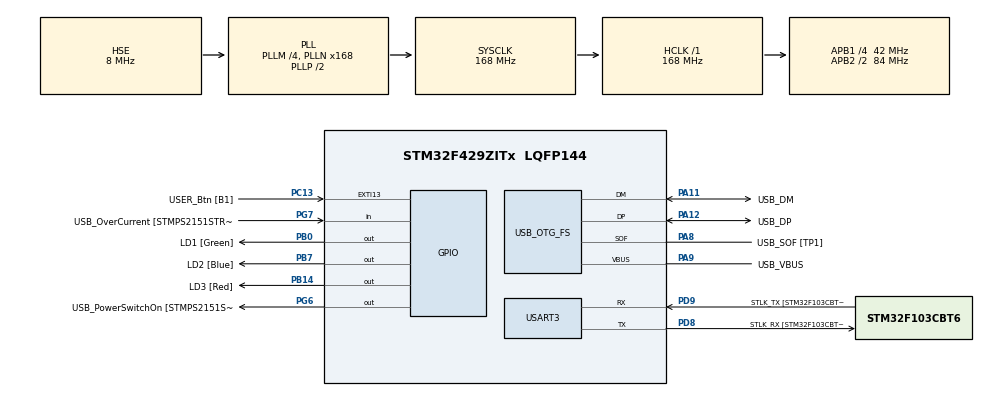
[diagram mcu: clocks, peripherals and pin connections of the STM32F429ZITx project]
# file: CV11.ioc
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Mcu.Family=STM32F4
Mcu.Name=STM32F429ZITx
Mcu.Package=LQFP144
NVIC.OTG_FS_IRQn=true\:0\:0\:false\:false\:true\:false\:true\:true
NVIC.PriorityGroup=NVIC_PRIORITYGROUP_4
PA1.GPIO_Label=RMII_REF_CLK [LAN8742A-CZ-TR_REFCLK0]
PA1.Signal=ETH_REF_CLK
PA10.GPIO_Label=USB_ID
PA10.Signal=USB_OTG_FS_ID
PA11.GPIO_Label=USB_DM
PA11.Mode=Device_Only
PA11.Signal=USB_OTG_FS_DM
PA12.GPIO_Label=USB_DP
PA12.Mode=Device_Only
PA12.Signal=USB_OTG_FS_DP
PA13.GPIO_Label=TMS
PA13.Mode=Serial_Wire
PA13.Signal=SYS_JTMS-SWDIO
PA14.GPIO_Label=TCK
PA14.Mode=Serial_Wire
PA14.Signal=SYS_JTCK-SWCLK
PA2.GPIO_Label=RMII_MDIO [LAN8742A-CZ-TR_MDIO]
PA2.Signal=ETH_MDIO
PA7.GPIO_Label=RMII_CRS_DV [LAN8742A-CZ-TR_CRS_DV]
PA7.Signal=ETH_CRS_DV
PA8.GPIO_Label=USB_SOF [TP1]
PA8.Mode=Activate_SOF_FS
PA8.Signal=USB_OTG_FS_SOF
PA9.GPIO_Label=USB_VBUS
PA9.Mode=Activate_VBUS
PA9.Signal=USB_OTG_FS_VBUS
PB0.GPIO_Label=LD1 [Green]
PB0.Signal=GPIO_Output
PB13.GPIO_Label=RMII_TXD1 [LAN8742A-CZ-TR_TXD1]
PB13.Signal=ETH_TXD1
PB14.GPIO_Label=LD3 [Red]
PB14.Signal=GPIO_Output
PB7.GPIO_Label=LD2 [Blue]
PB7.Signal=GPIO_Output
PC1.GPIO_Label=RMII_MDC [LAN8742A-CZ-TR_MDC]
PC1.Signal=ETH_MDC
PC13.GPIO_Label=USER_Btn [B1]
PC13.Signal=GPXTI13
PC14/OSC32_IN.Mode=LSE-External-Oscillator
PC14/OSC32_IN.Signal=RCC_OSC32_IN
PC15/OSC32_OUT.Mode=LSE-External-Oscillator
PC15/OSC32_OUT.Signal=RCC_OSC32_OUT
PC4.GPIO_Label=RMII_RXD0 [LAN8742A-CZ-TR_RXD0]
PC4.Signal=ETH_RXD0
PC5.GPIO_Label=RMII_RXD1 [LAN8742A-CZ-TR_RXD1]
PC5.Signal=ETH_RXD1
PD8.GPIO_Label=STLK_RX [STM32F103CBT6_PA3]
PD8.Mode=Asynchronous
PD8.Signal=USART3_TX
PD9.GPIO_Label=STLK_TX [STM32F103CBT6_PA2]
PD9.Mode=Asynchronous
PD9.Signal=USART3_RX
PG11.GPIO_Label=RMII_TX_EN [LAN8742A-CZ-TR_TXEN]
PG11.Signal=ETH_TX_EN
PG13.GPIO_Label=RMII_TXD0 [LAN8742A-CZ-TR_TXD0]
PG13.Signal=ETH_TXD0
PG6.GPIO_Label=USB_PowerSwitchOn [STMPS2151STR_EN]
PG6.Signal=GPIO_Output
PG7.GPIO_Label=USB_OverCurrent [STMPS2151STR_FAULT]
PG7.Signal=GPIO_Input
PH0/OSC_IN.GPIO_Label=MCO [STM32F103CBT6_PA8]
PH0/OSC_IN.Mode=HSE-External-Clock-Source
PH0/OSC_IN.Signal=RCC_OSC_IN
PH1/OSC_OUT.Mode=HSE-External-Clock-Source
PH1/OSC_OUT.Signal=RCC_OSC_OUT
ProjectManager.HeapSize=0x200
ProjectManager.StackSize=0x400
ProjectManager.TargetToolchain=STM32CubeIDE
RCC.48MHZClocksFreq_Value=48000000
RCC.AHBFreq_Value=168000000
RCC.APB1CLKDivider=RCC_HCLK_DIV4
RCC.APB1Freq_Value=42000000
RCC.APB1TimFreq_Value=84000000
RCC.APB2CLKDivider=RCC_HCLK_DIV2
RCC.APB2Freq_Value=84000000
RCC.APB2TimCLKDivider=2
RCC.APB2TimFreq_Value=168000000
RCC.CortexFreq_Value=168000000
RCC.HCLKFreq_Value=168000000
RCC.HSE_VALUE=8000000
RCC.HSI_VALUE=16000000
RCC.PLLM=4
RCC.PLLMUL=RCC_PLL_MUL9
RCC.PLLN=168
RCC.PLLQ=7
RCC.PRESCALERUSB=RCC_USBCLKSOURCE_PLL_DIV1_5
RCC.SYSCLKFreq_VALUE=168000000
RCC.SYSCLKSource=RCC_SYSCLKSOURCE_PLLCLK
RCC.SYSCLKSourceVirtual=RCC_SYSCLKSOURCE_PLLCLK
RCC.USBFreq_Value=48000000
RCC.VCOOutputFreq_Value=336000000
USART3.VirtualMode=VM_ASYNC
USB_DEVICE.CLASS_NAME_FS=HID
USB_DEVICE.VirtualMode-HID_FS=Hid
USB_DEVICE.VirtualModeFS=Hid_FS
USB_OTG_FS.VirtualMode=Device_Only
VP_USB_DEVICE_VS_USB_DEVICE_HID_FS.Mode=HID_FS
board=NUCLEO-F429ZI

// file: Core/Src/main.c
/* USER CODE BEGIN Header */
/**
 ******************************************************************************
 * @file           : main.c
 * @brief          : Main program body
 ******************************************************************************
 * @attention
 *
 * Copyright (c) 2023 STMicroelectronics.
 * All rights reserved.
 *
 * This software is licensed under terms that can be found in the LICENSE file
 * in the root directory of this software component.
 * If no LICENSE file comes with this software, it is provided AS-IS.
 *
 ******************************************************************************
 */
/* USER CODE END Header */
#include "main.h"
#include "usb_device.h"

/* USER CODE BEGIN Includes */
#include "usbd_hid.h"
#include <stdbool.h>
#include <math.h>
/* USER CODE END Includes */

/* USER CODE BEGIN PTD */
extern USBD_HandleTypeDef hUsbDeviceFS;
/* USER CODE END PTD */

/* USER CODE BEGIN PD */
#define PI 3.14
/* USER CODE END PD */

UART_HandleTypeDef huart3;

void SystemClock_Config(void);
static void MX_GPIO_Init(void);
static void MX_USART3_UART_Init(void);

/* USER CODE BEGIN 0 */
void step(int8_t x, int8_t y, bool btn) {
	uint8_t buff[4];

	buff[0] = btn; // stiskni leve tlacitko
	buff[1] = x; // posun X +10
	buff[2] = y; // posun Y -3
	buff[3] = 0; // bez scrollu

	USBD_HID_SendReport(&hUsbDeviceFS, buff, sizeof(buff));
	HAL_Delay(USBD_HID_GetPollingInterval(&hUsbDeviceFS));
}

void circle(int radius) {
	float x = radius;
	float y = 0;

	int32_t sx;
	int32_t sy;

	int32_t dx;
	int32_t dy;

	for (int32_t phi = 0; phi <= 360; phi += 5) {
		sx = x;
		sy = y;

		x = radius * cosf(phi * PI / 180);
		y = radius * sinf(phi * PI / 180);

		dx = x - sx;
		dy = y - sy;

		step(dx, dy, true);
	}

	step(0, 0, false);
}

void smile(int radius) {
	float x = radius;
	float y = 0;

	int32_t sx;
	int32_t sy;

	int32_t dx;
	int32_t dy;

	for (int32_t phi = 0; phi <= 180; phi += 5) {
		sx = x;
		sy = y;

		x = radius * cosf(phi * PI / 180);
		y = radius * sinf(phi * PI / 180);

		dx = x - sx;
		dy = y - sy;

		step(dx, dy, true);
	}

	step(0, 0, false);
}
/* USER CODE END 0 */

int main(void) {

	/* MCU Configuration--------------------------------------------------------*/

	/* Reset of all peripherals, Initializes the Flash interface and the Systick. */
	HAL_Init();

	/* Configure the system clock */
	SystemClock_Config();

	/* Initialize all configured peripherals */
	MX_GPIO_Init();
	MX_USART3_UART_Init();
	MX_USB_DEVICE_Init();

	/* Infinite loop */
	while (1) {

		if (HAL_GPIO_ReadPin(USER_Btn_GPIO_Port, USER_Btn_Pin) == 1) {
			circle(100); //nakresli vonkajsi obrys
			step(-10, 10, false); //posun na polohu usmevu
			step(-10, 0, false);
			step(-10, 0, false);
			smile(75); //nakresli usmev
			step(20, 0, false);
			step(20, 0, true); //posun na polohu nosu
			step(0, -20, false); //nakresli nos
			step(-10, -10, false); //posun na oko
			step(-10, -5, false);
			step(-10, -0, false);
			circle(30); //nakresli oko
			step(10, 0, false); //posun na druhe oko
			step(10, 0, false);
			step(10, 0, false);
			step(10, 0, false);
			step(10, 0, false);
			step(10, 0, false);
			step(10, 0, false);
			step(10, 0, false);
			step(10, 0, false);
			circle(30); //nakresli oko
		}
		/*
		 //TEST - posun myši
		 if(HAL_GPIO_ReadPin(USER_Btn_GPIO_Port, USER_Btn_Pin) == 1){
		 step(10, -3, true);
		 }*/

	}
}

void SystemClock_Config(void) {
	RCC_OscInitTypeDef RCC_OscInitStruct = { 0 };
	RCC_ClkInitTypeDef RCC_ClkInitStruct = { 0 };

	/** Configure the main internal regulator output voltage
	 */
	__HAL_RCC_PWR_CLK_ENABLE();
	__HAL_PWR_VOLTAGESCALING_CONFIG(PWR_REGULATOR_VOLTAGE_SCALE1);

	/** Initializes the RCC Oscillators according to the specified parameters
	 * in the RCC_OscInitTypeDef structure.
	 */
	RCC_OscInitStruct.OscillatorType = RCC_OSCILLATORTYPE_HSE;
	RCC_OscInitStruct.HSEState = RCC_HSE_BYPASS;
	RCC_OscInitStruct.PLL.PLLState = RCC_PLL_ON;
	RCC_OscInitStruct.PLL.PLLSource = RCC_PLLSOURCE_HSE;
	RCC_OscInitStruct.PLL.PLLM = 4;
	RCC_OscInitStruct.PLL.PLLN = 168;
	RCC_OscInitStruct.PLL.PLLP = RCC_PLLP_DIV2;
	RCC_OscInitStruct.PLL.PLLQ = 7;
	if (HAL_RCC_OscConfig(&RCC_OscInitStruct) != HAL_OK) {
		Error_Handler();
	}

	/** Initializes the CPU, AHB and APB buses clocks
	 */
	RCC_ClkInitStruct.ClockType = RCC_CLOCKTYPE_HCLK | RCC_CLOCKTYPE_SYSCLK
			| RCC_CLOCKTYPE_PCLK1 | RCC_CLOCKTYPE_PCLK2;
	RCC_ClkInitStruct.SYSCLKSource = RCC_SYSCLKSOURCE_PLLCLK;
	RCC_ClkInitStruct.AHBCLKDivider = RCC_SYSCLK_DIV1;
	RCC_ClkInitStruct.APB1CLKDivider = RCC_HCLK_DIV4;
	RCC_ClkInitStruct.APB2CLKDivider = RCC_HCLK_DIV2;

	if (HAL_RCC_ClockConfig(&RCC_ClkInitStruct, FLASH_LATENCY_5) != HAL_OK) {
		Error_Handler();
	}
}

static void MX_USART3_UART_Init(void) {

	huart3.Instance = USART3;
	huart3.Init.BaudRate = 115200;
	huart3.Init.WordLength = UART_WORDLENGTH_8B;
	huart3.Init.StopBits = UART_STOPBITS_1;
	huart3.Init.Parity = UART_PARITY_NONE;
	huart3.Init.Mode = UART_MODE_TX_RX;
	huart3.Init.HwFlowCtl = UART_HWCONTROL_NONE;
	huart3.Init.OverSampling = UART_OVERSAMPLING_16;
	if (HAL_UART_Init(&huart3) != HAL_OK) {
		Error_Handler();
	}

}

static void MX_GPIO_Init(void) {
	GPIO_InitTypeDef GPIO_InitStruct = { 0 };

	/* GPIO Ports Clock Enable */
	__HAL_RCC_GPIOC_CLK_ENABLE();
	__HAL_RCC_GPIOH_CLK_ENABLE();
	__HAL_RCC_GPIOA_CLK_ENABLE();
	__HAL_RCC_GPIOB_CLK_ENABLE();
	__HAL_RCC_GPIOD_CLK_ENABLE();
	__HAL_RCC_GPIOG_CLK_ENABLE();

	/*Configure GPIO pin Output Level */
	HAL_GPIO_WritePin(GPIOB, LD1_Pin | LD3_Pin | LD2_Pin, GPIO_PIN_RESET);

	/*Configure GPIO pin Output Level */
	HAL_GPIO_WritePin(USB_PowerSwitchOn_GPIO_Port, USB_PowerSwitchOn_Pin,
			GPIO_PIN_RESET);

	/*Configure GPIO pin : USER_Btn_Pin */
	GPIO_InitStruct.Pin = USER_Btn_Pin;
	GPIO_InitStruct.Mode = GPIO_MODE_IT_RISING;
	GPIO_InitStruct.Pull = GPIO_NOPULL;
	HAL_GPIO_Init(USER_Btn_GPIO_Port, &GPIO_InitStruct);

	/*Configure GPIO pins : RMII_MDC_Pin RMII_RXD0_Pin RMII_RXD1_Pin */
	GPIO_InitStruct.Pin = RMII_MDC_Pin | RMII_RXD0_Pin | RMII_RXD1_Pin;
	GPIO_InitStruct.Mode = GPIO_MODE_AF_PP;
	GPIO_InitStruct.Pull = GPIO_NOPULL;
	GPIO_InitStruct.Speed = GPIO_SPEED_FREQ_VERY_HIGH;
	GPIO_InitStruct.Alternate = GPIO_AF11_ETH;
	HAL_GPIO_Init(GPIOC, &GPIO_InitStruct);

	/*Configure GPIO pins : RMII_REF_CLK_Pin RMII_MDIO_Pin RMII_CRS_DV_Pin */
	GPIO_InitStruct.Pin = RMII_REF_CLK_Pin | RMII_MDIO_Pin | RMII_CRS_DV_Pin;
	GPIO_InitStruct.Mode = GPIO_MODE_AF_PP;
	GPIO_InitStruct.Pull = GPIO_NOPULL;
	GPIO_InitStruct.Speed = GPIO_SPEED_FREQ_VERY_HIGH;
	GPIO_InitStruct.Alternate = GPIO_AF11_ETH;
	HAL_GPIO_Init(GPIOA, &GPIO_InitStruct);

	/*Configure GPIO pins : LD1_Pin LD3_Pin LD2_Pin */
	GPIO_InitStruct.Pin = LD1_Pin | LD3_Pin | LD2_Pin;
	GPIO_InitStruct.Mode = GPIO_MODE_OUTPUT_PP;
	GPIO_InitStruct.Pull = GPIO_NOPULL;
	GPIO_InitStruct.Speed = GPIO_SPEED_FREQ_LOW;
	HAL_GPIO_Init(GPIOB, &GPIO_InitStruct);

	/*Configure GPIO pin : RMII_TXD1_Pin */
	GPIO_InitStruct.Pin = RMII_TXD1_Pin;
	GPIO_InitStruct.Mode = GPIO_MODE_AF_PP;
	GPIO_InitStruct.Pull = GPIO_NOPULL;
	GPIO_InitStruct.Speed = GPIO_SPEED_FREQ_VERY_HIGH;
	GPIO_InitStruct.Alternate = GPIO_AF11_ETH;
	HAL_GPIO_Init(RMII_TXD1_GPIO_Port, &GPIO_InitStruct);

	/*Configure GPIO pin : USB_PowerSwitchOn_Pin */
	GPIO_InitStruct.Pin = USB_PowerSwitchOn_Pin;
	GPIO_InitStruct.Mode = GPIO_MODE_OUTPUT_PP;
	GPIO_InitStruct.Pull = GPIO_NOPULL;
	GPIO_InitStruct.Speed = GPIO_SPEED_FREQ_LOW;
	HAL_GPIO_Init(USB_PowerSwitchOn_GPIO_Port, &GPIO_InitStruct);

	/*Configure GPIO pin : USB_OverCurrent_Pin */
	GPIO_InitStruct.Pin = USB_OverCurrent_Pin;
	GPIO_InitStruct.Mode = GPIO_MODE_INPUT;
	GPIO_InitStruct.Pull = GPIO_NOPULL;
	HAL_GPIO_Init(USB_OverCurrent_GPIO_Port, &GPIO_InitStruct);

	/*Configure GPIO pins : RMII_TX_EN_Pin RMII_TXD0_Pin */
	GPIO_InitStruct.Pin = RMII_TX_EN_Pin | RMII_TXD0_Pin;
	GPIO_InitStruct.Mode = GPIO_MODE_AF_PP;
	GPIO_InitStruct.Pull = GPIO_NOPULL;
	GPIO_InitStruct.Speed = GPIO_SPEED_FREQ_VERY_HIGH;
	GPIO_InitStruct.Alternate = GPIO_AF11_ETH;
	HAL_GPIO_Init(GPIOG, &GPIO_InitStruct);

}

void Error_Handler(void) {
	__disable_irq();
	while (1) {
	}
}
